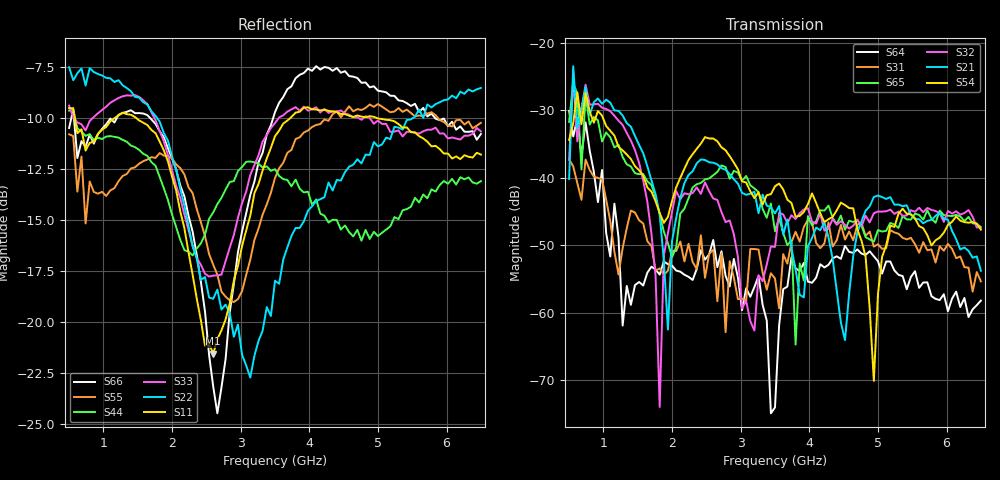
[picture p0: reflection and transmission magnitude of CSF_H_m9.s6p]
!Keysight Technologies,M9804A,MY58100912,A.14.10.03
!Date: Thursday, April 27, 2023 10:28:33
!Correction: S11(C  6-Port  )
!S12(C  6-Port  )
!S13(C  6-Port  )
!S14(C  6-Port  )
!S15(C  6-Port  )
!S16(C  6-Port  )
!S21(C  6-Port  )
!S22(C  6-Port  )
!S23(C  6-Port  )
!S24(C  6-Port  )
!S25(C  6-Port  )
!S26(C  6-Port  )
!S31(C  6-Port  )
!S32(C  6-Port  )
!S33(C  6-Port  )
!S34(C  6-Port  )
!S35(C  6-Port  )
!S36(C  6-Port  )
!S41(C  6-Port  )
!S42(C  6-Port  )
!S43(C  6-Port  )
!S44(C  6-Port  )
!S45(C  6-Port  )
!S46(C  6-Port  )
!S51(C  6-Port  )
!S52(C  6-Port  )
!S53(C  6-Port  )
!S54(C  6-Port  )
!S55(C  6-Port  )
!S56(C  6-Port  )
!S61(C  6-Port  )
!S62(C  6-Port  )
!S63(C  6-Port  )
!S64(C  6-Port  )
!S65(C  6-Port  )
!S66(C  6-Port  )
!S6P File: Measurement: :
# Hz S  RI  R 50
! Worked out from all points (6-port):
!   101 points, 500 MHz to 6.5 GHz, reference 50 ohm
!   strongest paths, dB at 500 MHz, 2 GHz, 3.5 GHz, 5 GHz, 6.5 GHz:
!     S54: -34.4, -43.4, -41.2, -57.2, -47.7
!     S21: -40.1, -49.3, -45.2, -42.6, -53.7
!     S32: -37.3, -45.0, -50.2, -45.0, -47.4
!     S65: -31.7, -51.7, -47.9, -47.7, -47.3
!     S31: -37.2, -50.8, -54.9, -49.8, -55.3
!     S64: -30.1, -53.0, -74.0, -52.3, -58.2
!   lowest |S11| = -21.5 dB at 2.6 GHz (marker M1), VSWR 1.18, Z = 42.5 + j1.94 ohm
!   |S11| at or under -10 dB: 584 MHz to 1.161 GHz (576.7 MHz wide, 66.1 % of centre); 1.479 GHz to 3.721 GHz (2.241 GHz wide, 86.2 % of centre); 4.989 GHz to end of sweep
